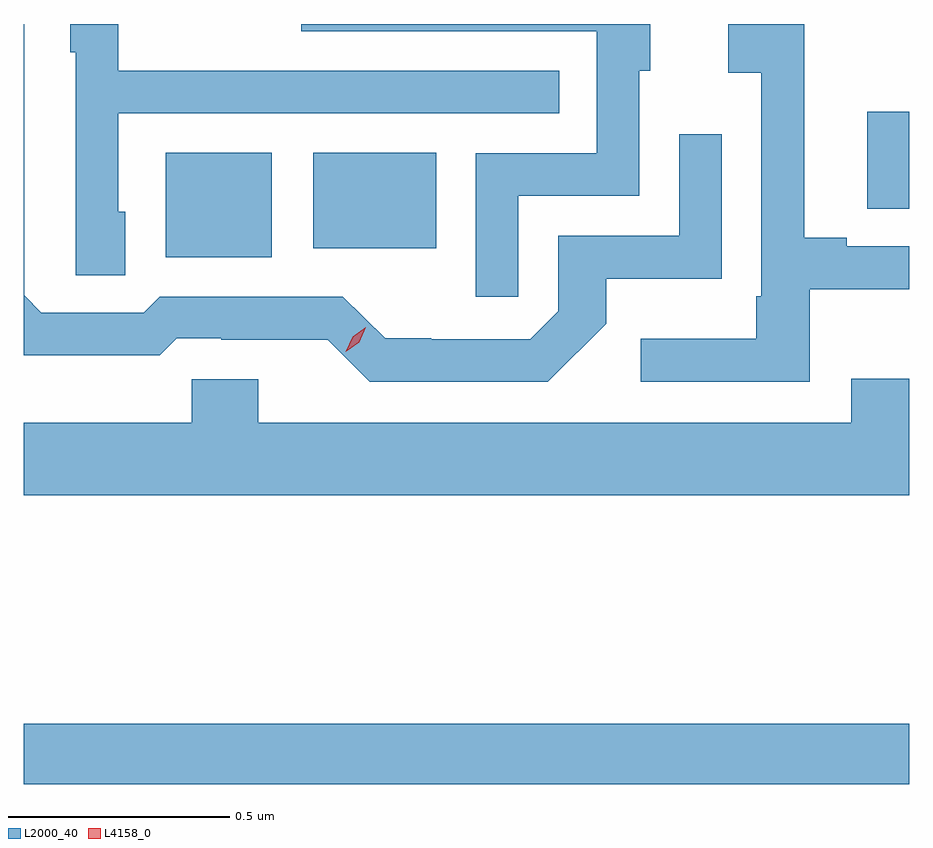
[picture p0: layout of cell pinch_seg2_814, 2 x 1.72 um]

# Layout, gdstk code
import gdstk
lib = gdstk.Library(unit=1e-6, precision=1e-09)
def R(c, l, rs):  # rectangles x0, y0, x1, y1
    for r in rs: c.add(gdstk.rectangle(r[:2], r[2:], *l))
def P(c, l, *ps):  # polygons
    for p in ps: c.add(gdstk.Polygon(p, *l))
L2000_40 = (2000, 40)
L4158_0 = (4158, 0)

pinch_seg2_814 = lib.new_cell('pinch_seg2_814')
R(pinch_seg2_814, L2000_40, [(722.66,609.688,724.66,609.824), (722.981,610.877,723.22,611.113), (723.314,610.898,723.592,611.113), (724.565,610.987,724.66,611.206)])
P(pinch_seg2_814, L2000_40, [(722.89,610.98),(722.874,610.98),(722.874,611.202),(723.869,611.202),(723.869,611.298),(723.191,611.298),(723.191,611.299),(722.874,611.299),(722.874,611.404),(722.765,611.404),(722.765,611.34),(722.778,611.34),(722.778,610.837),(722.89,610.837)],
  [(723.975,610.727),(723.975,610.829),(724.236,610.829),(724.236,611.155),(724.14,611.155),(724.14,610.926),(723.867,610.926),(723.867,610.755),(723.804,610.692),(723.58,610.692),(723.58,610.694),(723.476,610.694),(723.381,610.788),(722.967,610.788),(722.931,610.752),(722.7,610.752),(722.661,610.791),(722.661,611.404),(722.66,611.404),(722.66,610.656),(722.967,610.656),(723.006,610.695),(723.106,610.695),(723.106,610.691),(723.347,610.691),(723.441,610.596),(723.844,610.596)],
  [(724.435,610.805),(724.66,610.805),(724.66,610.902),(724.519,610.902),(724.519,610.921),(724.423,610.921),(724.423,611.404),(724.251,611.404),(724.251,611.294),(724.326,611.294),(724.326,610.789),(724.314,610.789),(724.314,610.693),(724.053,610.693),(724.053,610.596),(724.435,610.596)],
  [(723.777,611.016),(724.05,611.016),(724.05,611.298),(724.075,611.298),(724.075,611.404),(723.287,611.404),(723.287,611.388),(723.954,611.388),(723.954,611.112),(723.681,611.112),(723.681,610.788),(723.777,610.788)],
  [(724.66,610.603),(724.529,610.603),(724.529,610.504),(723.19,610.504),(723.19,610.602),(723.04,610.602),(723.04,610.504),(722.66,610.504),(722.66,610.34),(724.66,610.34)])
P(pinch_seg2_814, L4158_0, [(723.387,610.664),(723.387,610.664),(723.403,610.698),(723.433,610.719),(723.433,610.719),(723.433,610.719),(723.418,610.685),(723.387,610.664)])

lib.write_gds('pinch_seg2_814.gds')
